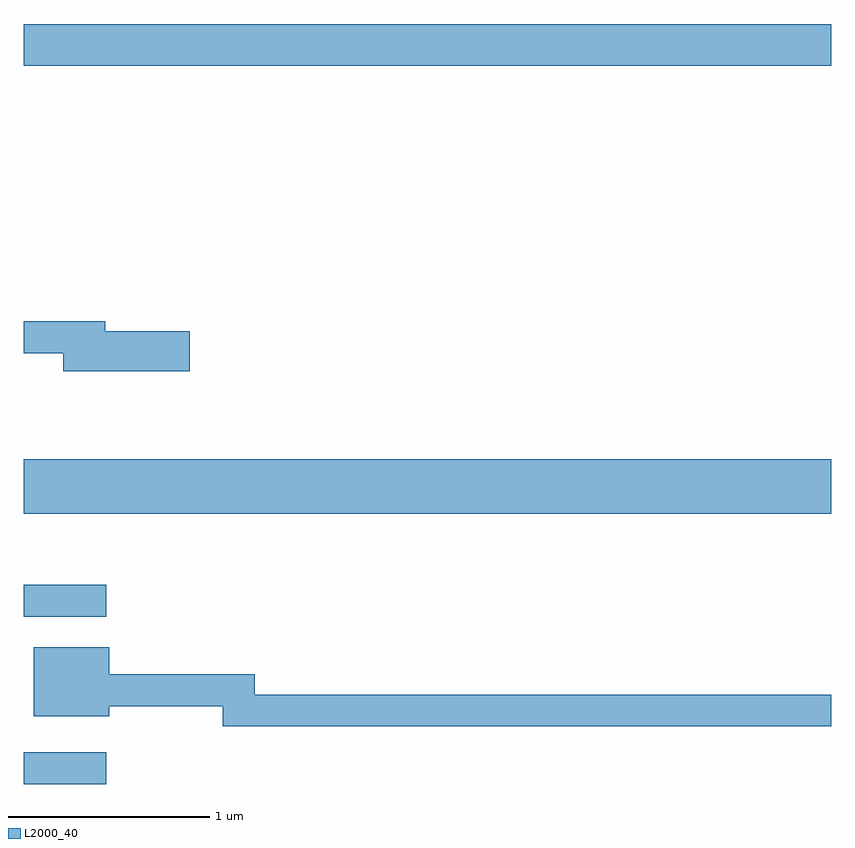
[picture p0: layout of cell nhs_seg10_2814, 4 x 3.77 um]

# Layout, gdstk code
import gdstk
lib = gdstk.Library(unit=1e-6, precision=1e-09)
def R(c, l, rs):  # rectangles x0, y0, x1, y1
    for r in rs: c.add(gdstk.rectangle(r[:2], r[2:], *l))
def P(c, l, *ps):  # polygons
    for p in ps: c.add(gdstk.Polygon(p, *l))
L2000_40 = (2000, 40)

nhs_seg10_2814 = lib.new_cell('nhs_seg10_2814')
R(nhs_seg10_2814, L2000_40, [(267.611,2154.756,268.018,2154.914), (267.611,2155.586,268.018,2155.744), (267.611,2156.096,271.611,2156.364), (267.611,2158.316,271.611,2158.522)])
P(nhs_seg10_2814, L2000_40, [(268.434,2156.999),(268.014,2156.999),(268.014,2157.049),(267.611,2157.049),(267.611,2156.891),(267.806,2156.891),(267.806,2156.801),(268.434,2156.801)],
  [(271.611,2155.199),(268.754,2155.199),(268.754,2155.299),(268.034,2155.299),(268.034,2155.434),(267.661,2155.434),(267.661,2155.091),(268.034,2155.091),(268.034,2155.141),(268.596,2155.141),(268.596,2155.041),(271.611,2155.041)])

lib.write_gds('nhs_seg10_2814.gds')
